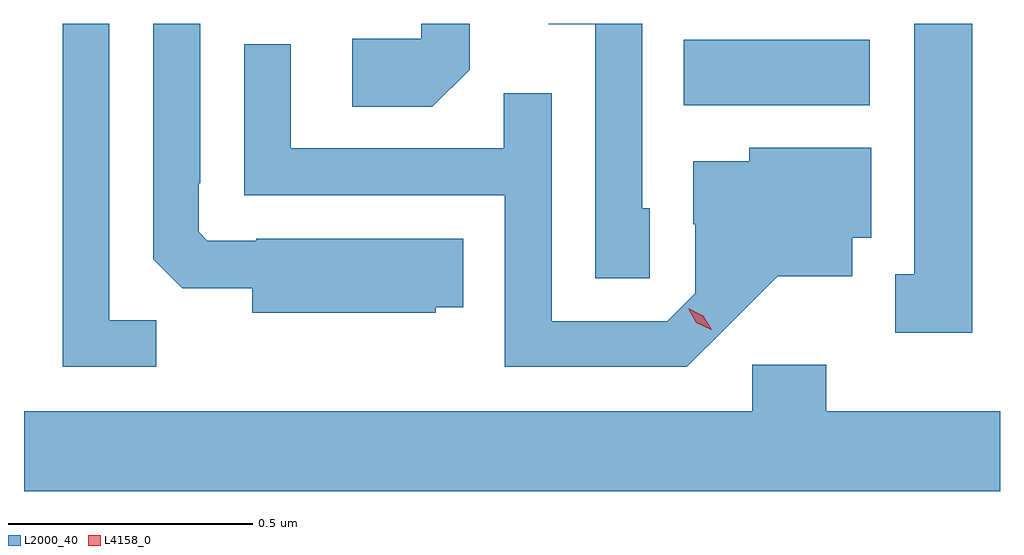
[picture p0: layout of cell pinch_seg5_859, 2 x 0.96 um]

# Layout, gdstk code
import gdstk
lib = gdstk.Library(unit=1e-6, precision=1e-09)
def R(c, l, rs):  # rectangles x0, y0, x1, y1
    for r in rs: c.add(gdstk.rectangle(r[:2], r[2:], *l))
def P(c, l, *ps):  # polygons
    for p in ps: c.add(gdstk.Polygon(p, *l))
L2000_40 = (2000, 40)
L4158_0 = (4158, 0)

pinch_seg5_859 = lib.new_cell('pinch_seg5_859')
R(pinch_seg5_859, L2000_40, [(772.51,877.532,772.891,877.666)])
P(pinch_seg5_859, L2000_40, [(772.44,877.32),(772.425,877.32),(772.425,877.699),(772.233,877.699),(772.233,877.697),(772.329,877.697),(772.329,877.177),(772.44,877.177)],
  [(772.071,877.604),(772.071,877.699),(771.972,877.699),(771.972,877.668),(771.831,877.668),(771.831,877.528),(771.995,877.528)],
  [(773.101,877.699),(772.982,877.699),(772.982,877.185),(772.943,877.185),(772.943,877.065),(773.101,877.065)],
  [(772.002,877.118),(772.058,877.118),(772.058,877.258),(771.634,877.258),(771.634,877.254),(771.534,877.254),(771.516,877.272),(771.516,877.372),(771.519,877.372),(771.519,877.699),(771.423,877.699),(771.423,877.216),(771.482,877.157),(771.626,877.157),(771.626,877.106),(772.002,877.106)],
  [(771.429,877.091),(771.333,877.091),(771.333,877.699),(771.237,877.699),(771.237,876.996),(771.429,876.996)],
  [(772.6,877.079),(772.703,877.181),(772.855,877.181),(772.855,877.26),(772.894,877.26),(772.894,877.444),(772.644,877.444),(772.644,877.417),(772.529,877.417),(772.529,877.288),(772.533,877.288),(772.533,877.146),(772.476,877.089),(772.239,877.089),(772.239,877.556),(772.141,877.556),(772.141,877.443),(771.705,877.443),(771.705,877.657),(771.609,877.657),(771.609,877.347),(772.143,877.347),(772.143,876.996),(772.516,876.996)],
  [(773.158,876.904),(772.802,876.904),(772.802,877),(772.65,877),(772.65,876.904),(771.158,876.904),(771.158,876.74),(773.158,876.74)])
P(pinch_seg5_859, L4158_0, [(772.566,877.071),(772.536,877.086),(772.519,877.115),(772.519,877.115),(772.519,877.115),(772.55,877.1),(772.567,877.071),(772.567,877.071)])

lib.write_gds('pinch_seg5_859.gds')
